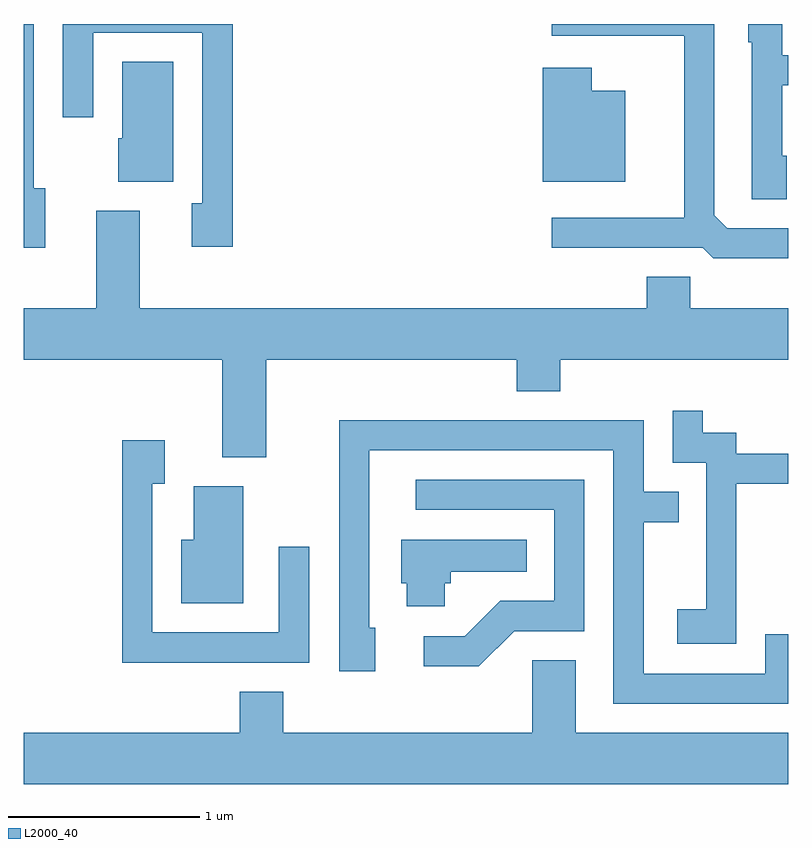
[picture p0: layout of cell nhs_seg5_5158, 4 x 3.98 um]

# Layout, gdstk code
import gdstk
lib = gdstk.Library(unit=1e-6, precision=1e-09)
def P(c, l, *ps):  # polygons
    for p in ps: c.add(gdstk.Polygon(p, *l))
L2000_40 = (2000, 40)

nhs_seg5_5158 = lib.new_cell('nhs_seg5_5158')
P(nhs_seg5_5158, L2000_40, [(338.704,1494.072),(337.816,1494.072),(337.816,1493.583),(337.974,1493.583),(337.974,1494.026),(338.546,1494.026),(338.546,1493.134),(338.491,1493.134),(338.491,1492.906),(338.704,1492.906)],
  [(341.604,1493.384),(341.579,1493.384),(341.579,1493.751),(341.611,1493.751),(341.611,1493.909),(341.579,1493.909),(341.579,1494.072),(341.401,1494.072),(341.401,1493.976),(341.421,1493.976),(341.421,1493.156),(341.604,1493.156)],
  [(341.611,1493.004),(341.292,1493.004),(341.224,1493.072),(341.224,1494.072),(340.373,1494.072),(340.373,1494.011),(341.066,1494.011),(341.066,1493.059),(340.373,1493.059),(340.373,1492.901),(341.164,1492.901),(341.219,1492.846),(341.611,1492.846)],
  [(337.724,1493.214),(337.664,1493.214),(337.664,1494.072),(337.611,1494.072),(337.611,1492.901),(337.724,1492.901)],
  [(338.394,1493.874),(338.126,1493.874),(338.126,1493.474),(338.106,1493.474),(338.106,1493.246),(338.394,1493.246)],
  [(340.759,1493.724),(340.584,1493.724),(340.584,1493.844),(340.326,1493.844),(340.326,1493.246),(340.759,1493.246)],
  [(338.879,1492.316),(340.191,1492.316),(340.191,1492.151),(340.419,1492.151),(340.419,1492.316),(341.611,1492.316),(341.611,1492.584),(341.099,1492.584),(341.099,1492.749),(340.871,1492.749),(340.871,1492.584),(338.219,1492.584),(338.219,1493.094),(337.991,1493.094),(337.991,1492.584),(337.611,1492.584),(337.611,1492.316),(338.651,1492.316),(338.651,1491.806),(338.879,1491.806)],
  [(341.339,1491.666),(341.611,1491.666),(341.611,1491.824),(341.339,1491.824),(341.339,1491.934),(341.164,1491.934),(341.164,1492.048),(341.006,1492.048),(341.006,1491.776),(341.181,1491.776),(341.181,1491.009),(341.031,1491.009),(341.031,1490.831),(341.339,1490.831)],
  [(341.611,1490.879),(341.491,1490.879),(341.491,1490.674),(340.854,1490.674),(340.854,1491.466),(341.038,1491.466),(341.038,1491.624),(340.854,1491.624),(340.854,1491.999),(339.261,1491.999),(339.261,1490.686),(339.449,1490.686),(339.449,1490.914),(339.419,1490.914),(339.419,1491.841),(340.696,1491.841),(340.696,1490.516),(341.611,1490.516)],
  [(339.104,1491.338),(338.946,1491.338),(338.946,1490.889),(338.284,1490.889),(338.284,1491.666),(338.349,1491.666),(338.349,1491.894),(338.126,1491.894),(338.126,1490.731),(339.104,1490.731)],
  [(340.177,1490.896),(340.544,1490.896),(340.544,1491.689),(339.663,1491.689),(339.663,1491.531),(340.386,1491.531),(340.386,1491.054),(340.104,1491.054),(339.919,1490.869),(339.703,1490.869),(339.703,1490.711),(339.992,1490.711)],
  [(338.759,1491.654),(338.501,1491.654),(338.501,1491.374),(338.436,1491.374),(338.436,1491.041),(338.759,1491.041)],
  [(339.814,1491.146),(339.844,1491.146),(339.844,1491.206),(340.243,1491.206),(340.243,1491.374),(339.586,1491.374),(339.586,1491.146),(339.616,1491.146),(339.616,1491.026),(339.814,1491.026)],
  [(341.611,1490.364),(340.499,1490.364),(340.499,1490.744),(340.271,1490.744),(340.271,1490.364),(338.969,1490.364),(338.969,1490.579),(338.741,1490.579),(338.741,1490.364),(337.611,1490.364),(337.611,1490.096),(341.611,1490.096)])

lib.write_gds('nhs_seg5_5158.gds')
